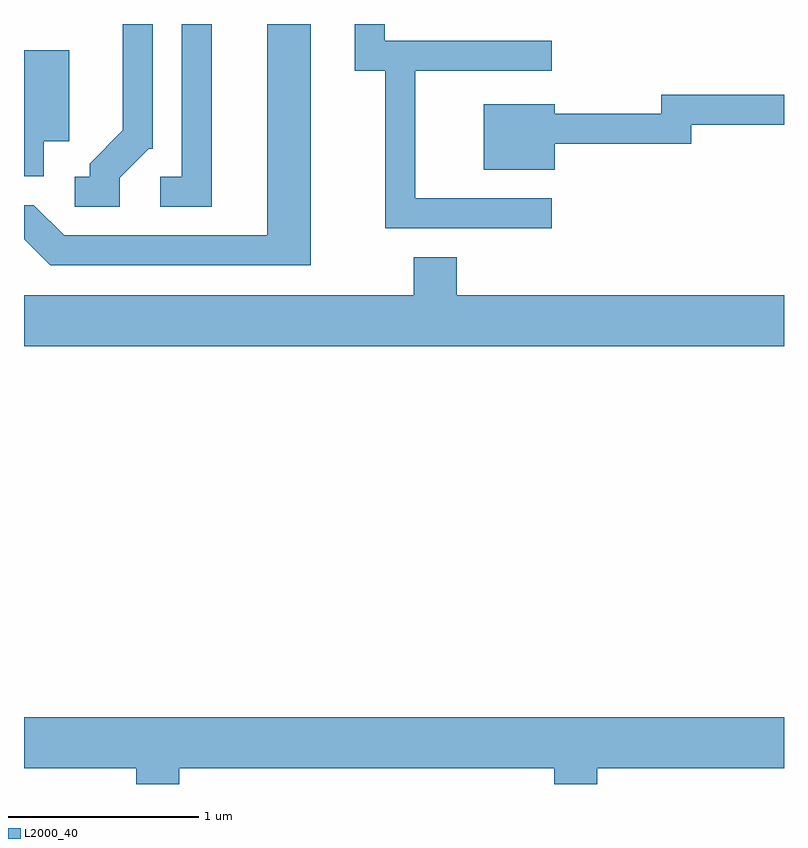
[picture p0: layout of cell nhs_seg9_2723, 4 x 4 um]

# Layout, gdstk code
import gdstk
lib = gdstk.Library(unit=1e-6, precision=1e-09)
def P(c, l, *ps):  # polygons
    for p in ps: c.add(gdstk.Polygon(p, *l))
L2000_40 = (2000, 40)

nhs_seg9_2723 = lib.new_cell('nhs_seg9_2723')
P(nhs_seg9_2723, L2000_40, [(267.119,1962.432),(266.891,1962.432),(266.891,1961.319),(265.822,1961.319),(265.662,1961.479),(265.611,1961.479),(265.611,1961.299),(265.749,1961.161),(267.119,1961.161)],
  [(266.114,1961.624),(266.267,1961.776),(266.289,1961.776),(266.289,1962.432),(266.131,1962.432),(266.131,1961.872),(265.956,1961.697),(265.956,1961.629),(265.878,1961.629),(265.878,1961.471),(266.114,1961.471)],
  [(266.599,1962.432),(266.441,1962.432),(266.441,1961.629),(266.328,1961.629),(266.328,1961.471),(266.599,1961.471)],
  [(268.388,1961.514),(267.669,1961.514),(267.669,1962.186),(268.388,1962.186),(268.388,1962.344),(267.509,1962.344),(267.509,1962.432),(267.351,1962.432),(267.351,1962.186),(267.511,1962.186),(267.511,1961.356),(268.388,1961.356)],
  [(265.714,1961.816),(265.849,1961.816),(265.849,1962.294),(265.611,1962.294),(265.611,1961.631),(265.714,1961.631)],
  [(268.404,1961.801),(269.124,1961.801),(269.124,1961.901),(269.611,1961.901),(269.611,1962.059),(268.966,1962.059),(268.966,1961.959),(268.404,1961.959),(268.404,1962.009),(268.031,1962.009),(268.031,1961.666),(268.404,1961.666)],
  [(269.611,1961.004),(267.889,1961.004),(267.889,1961.204),(267.661,1961.204),(267.661,1961.004),(265.611,1961.004),(265.611,1960.736),(269.611,1960.736)],
  [(266.429,1958.516),(268.401,1958.516),(268.401,1958.432),(268.629,1958.432),(268.629,1958.516),(269.611,1958.516),(269.611,1958.784),(265.611,1958.784),(265.611,1958.516),(266.201,1958.516),(266.201,1958.432),(266.429,1958.432)])

lib.write_gds('nhs_seg9_2723.gds')
